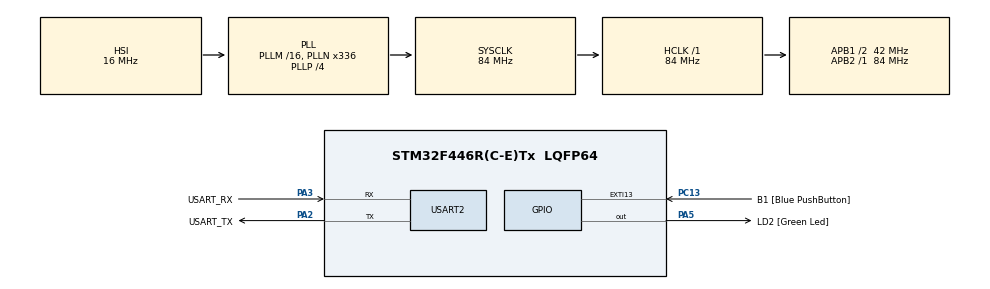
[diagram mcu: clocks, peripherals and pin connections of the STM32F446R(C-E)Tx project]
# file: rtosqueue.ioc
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FREERTOS.Queues01=myQueue01,4,uint32_t,0,Dynamic,NULL,NULL
FREERTOS.Tasks01=defaultTask,24,128,StartDefaultTask,Default,NULL,Dynamic,NULL,NULL
Mcu.Family=STM32F4
Mcu.Name=STM32F446R(C-E)Tx
Mcu.Package=LQFP64
NVIC.PriorityGroup=NVIC_PRIORITYGROUP_4
PA13.GPIO_Label=TMS
PA13.Mode=Serial_Wire
PA13.Signal=SYS_JTMS-SWDIO
PA14.GPIO_Label=TCK
PA14.Mode=Serial_Wire
PA14.Signal=SYS_JTCK-SWCLK
PA2.GPIO_Label=USART_TX
PA2.Mode=Asynchronous
PA2.Signal=USART2_TX
PA3.GPIO_Label=USART_RX
PA3.Mode=Asynchronous
PA3.Signal=USART2_RX
PA5.GPIO_Label=LD2 [Green Led]
PA5.Signal=GPIO_Output
PB3.GPIO_Label=SWO
PB3.Signal=SYS_JTDO-SWO
PC13.GPIO_Label=B1 [Blue PushButton]
PC13.GPIO_ModeDefaultEXTI=GPIO_MODE_IT_FALLING
PC13.Signal=GPXTI13
PC14-OSC32_IN.Mode=LSE-External-Oscillator
PC14-OSC32_IN.Signal=RCC_OSC32_IN
PC15-OSC32_OUT.Mode=LSE-External-Oscillator
PC15-OSC32_OUT.Signal=RCC_OSC32_OUT
PH0-OSC_IN.Mode=HSE-External-Oscillator
PH0-OSC_IN.Signal=RCC_OSC_IN
PH1-OSC_OUT.Mode=HSE-External-Oscillator
PH1-OSC_OUT.Signal=RCC_OSC_OUT
ProjectManager.HeapSize=0x200
ProjectManager.StackSize=0x400
ProjectManager.TargetToolchain=STM32CubeIDE
RCC.48MHZClocksFreq_Value=84000000
RCC.AHBFreq_Value=84000000
RCC.APB1CLKDivider=RCC_HCLK_DIV2
RCC.APB1Freq_Value=42000000
RCC.APB1TimFreq_Value=84000000
RCC.APB2Freq_Value=84000000
RCC.APB2TimFreq_Value=84000000
RCC.CortexFreq_Value=84000000
RCC.FLatency-AdvancedSettings=FLASH_LATENCY_2
RCC.HCLKFreq_Value=84000000
RCC.HSE_VALUE=8000000
RCC.HSI_VALUE=16000000
RCC.PLLN=336
RCC.PLLP=RCC_PLLP_DIV4
RCC.SYSCLKFreq_VALUE=84000000
RCC.SYSCLKSource=RCC_SYSCLKSOURCE_PLLCLK
RCC.USBFreq_Value=168000000
RCC.VCOOutputFreq_Value=336000000
USART2.VirtualMode=VM_ASYNC
VP_FREERTOS_VS_CMSIS_V2.Mode=CMSIS_V2
board=NUCLEO-F446RE

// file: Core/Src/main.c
/* USER CODE BEGIN Header */
/**
  ******************************************************************************
  * @file           : main.c
  * @brief          : Main program body
  ******************************************************************************
  * @attention
  *
  * Copyright (c) 2026 STMicroelectronics.
  * All rights reserved.
  *
  * This software is licensed under terms that can be found in the LICENSE file
  * in the root directory of this software component.
  * If no LICENSE file comes with this software, it is provided AS-IS.
  *
  ******************************************************************************
  */
/* USER CODE END Header */
#include "main.h"
#include "cmsis_os.h"
#include <stdio.h>

UART_HandleTypeDef huart2;

/* Definitions for defaultTask */
osThreadId_t defaultTaskHandle;
const osThreadAttr_t defaultTask_attributes = {
  .name = "defaultTask",
  .stack_size = 128 * 4,
  .priority = (osPriority_t) osPriorityNormal,
};
/* Definitions for myQueue01 */
osMessageQueueId_t myQueue01Handle;
const osMessageQueueAttr_t myQueue01_attributes = {
  .name = "myQueue01"
};
/* USER CODE BEGIN PV */
volatile uint8_t buttonPressed = 0;
volatile uint32_t buttonCount = 0;

osThreadId_t senderTaskHandle;
osThreadId_t receiverTaskHandle;

const osThreadAttr_t senderTask_attributes = {
  .name = "senderTask",
  .stack_size = 128 * 4,
  .priority = (osPriority_t) osPriorityNormal,
};

const osThreadAttr_t receiverTask_attributes = {
  .name = "receiverTask",
  .stack_size = 128 * 4,
  .priority = (osPriority_t) osPriorityNormal,
};

/* USER CODE END PV */

void SystemClock_Config(void);
static void MX_GPIO_Init(void);
static void MX_USART2_UART_Init(void);
void StartDefaultTask(void *argument);

/* USER CODE BEGIN PFP */

int __io_putchar(int ch)
{
	HAL_UART_Transmit(&huart2,(uint8_t *)&ch,1,	HAL_MAX_DELAY);

	return ch;
}

void SenderTask(void *argument){

		while(1)
		    {
		        if(buttonPressed)
		        {
		            osMessageQueuePut(
		                    myQueue01Handle,
		                    (void *)&buttonCount,
		                    0,
		                    osWaitForever);

		            buttonPressed = 0;
		        }

		        osDelay(10);
		    }

}

void ReceiverTask(void *argument){
	uint32_t receivedData;

	while(1)
	    {
	        if(osMessageQueueGet(
	                myQueue01Handle,
	                &receivedData,
	                NULL,
	                osWaitForever) == osOK)
	        {
	            printf(" increment count if push button presses = %lu\r\n", receivedData);
	        }
	    }
}

/* USER CODE END PFP */

int main(void)
{

  /* MCU Configuration--------------------------------------------------------*/

  /* Reset of all peripherals, Initializes the Flash interface and the Systick. */
  HAL_Init();

  /* Configure the system clock */
  SystemClock_Config();

  /* Initialize all configured peripherals */
  MX_GPIO_Init();
  MX_USART2_UART_Init();

  /* Init scheduler */
  osKernelInitialize();

  /* Create the queue(s) */
  /* creation of myQueue01 */
  myQueue01Handle = osMessageQueueNew (4, sizeof(uint32_t), &myQueue01_attributes);

  /* Create the thread(s) */
  /* creation of defaultTask */
  defaultTaskHandle = osThreadNew(StartDefaultTask, NULL, &defaultTask_attributes);

  /* USER CODE BEGIN RTOS_THREADS */

  	senderTaskHandle = osThreadNew(SenderTask,
                                   NULL,
                                   &senderTask_attributes);

    receiverTaskHandle = osThreadNew(ReceiverTask,
                                     NULL,
                                     &receiverTask_attributes);

  /* add threads, ... */
  /* USER CODE END RTOS_THREADS */

  /* Start scheduler */
  osKernelStart();

  /* We should never get here as control is now taken by the scheduler */

  /* Infinite loop */
  while (1)
  {

  }
}

void SystemClock_Config(void)
{
  RCC_OscInitTypeDef RCC_OscInitStruct = {0};
  RCC_ClkInitTypeDef RCC_ClkInitStruct = {0};

  /** Configure the main internal regulator output voltage
  */
  __HAL_RCC_PWR_CLK_ENABLE();
  __HAL_PWR_VOLTAGESCALING_CONFIG(PWR_REGULATOR_VOLTAGE_SCALE3);

  /** Initializes the RCC Oscillators according to the specified parameters
  * in the RCC_OscInitTypeDef structure.
  */
  RCC_OscInitStruct.OscillatorType = RCC_OSCILLATORTYPE_HSI;
  RCC_OscInitStruct.HSIState = RCC_HSI_ON;
  RCC_OscInitStruct.HSICalibrationValue = RCC_HSICALIBRATION_DEFAULT;
  RCC_OscInitStruct.PLL.PLLState = RCC_PLL_ON;
  RCC_OscInitStruct.PLL.PLLSource = RCC_PLLSOURCE_HSI;
  RCC_OscInitStruct.PLL.PLLM = 16;
  RCC_OscInitStruct.PLL.PLLN = 336;
  RCC_OscInitStruct.PLL.PLLP = RCC_PLLP_DIV4;
  RCC_OscInitStruct.PLL.PLLQ = 2;
  RCC_OscInitStruct.PLL.PLLR = 2;
  if (HAL_RCC_OscConfig(&RCC_OscInitStruct) != HAL_OK)
  {
    Error_Handler();
  }

  /** Initializes the CPU, AHB and APB buses clocks
  */
  RCC_ClkInitStruct.ClockType = RCC_CLOCKTYPE_HCLK|RCC_CLOCKTYPE_SYSCLK
                              |RCC_CLOCKTYPE_PCLK1|RCC_CLOCKTYPE_PCLK2;
  RCC_ClkInitStruct.SYSCLKSource = RCC_SYSCLKSOURCE_PLLCLK;
  RCC_ClkInitStruct.AHBCLKDivider = RCC_SYSCLK_DIV1;
  RCC_ClkInitStruct.APB1CLKDivider = RCC_HCLK_DIV2;
  RCC_ClkInitStruct.APB2CLKDivider = RCC_HCLK_DIV1;

  if (HAL_RCC_ClockConfig(&RCC_ClkInitStruct, FLASH_LATENCY_2) != HAL_OK)
  {
    Error_Handler();
  }
}

static void MX_USART2_UART_Init(void)
{

  huart2.Instance = USART2;
  huart2.Init.BaudRate = 115200;
  huart2.Init.WordLength = UART_WORDLENGTH_8B;
  huart2.Init.StopBits = UART_STOPBITS_1;
  huart2.Init.Parity = UART_PARITY_NONE;
  huart2.Init.Mode = UART_MODE_TX_RX;
  huart2.Init.HwFlowCtl = UART_HWCONTROL_NONE;
  huart2.Init.OverSampling = UART_OVERSAMPLING_16;
  if (HAL_UART_Init(&huart2) != HAL_OK)
  {
    Error_Handler();
  }

}

static void MX_GPIO_Init(void)
{
  GPIO_InitTypeDef GPIO_InitStruct = {0};

  /* GPIO Ports Clock Enable */
  __HAL_RCC_GPIOC_CLK_ENABLE();
  __HAL_RCC_GPIOH_CLK_ENABLE();
  __HAL_RCC_GPIOA_CLK_ENABLE();
  __HAL_RCC_GPIOB_CLK_ENABLE();
  HAL_NVIC_SetPriority(EXTI15_10_IRQn, 5, 0);
  HAL_NVIC_EnableIRQ(EXTI15_10_IRQn);

  /*Configure GPIO pin Output Level */
  HAL_GPIO_WritePin(LD2_GPIO_Port, LD2_Pin, GPIO_PIN_RESET);

  /*Configure GPIO pin : B1_Pin */
  GPIO_InitStruct.Pin = B1_Pin;
  GPIO_InitStruct.Mode = GPIO_MODE_IT_FALLING;
  GPIO_InitStruct.Pull = GPIO_NOPULL;
  HAL_GPIO_Init(B1_GPIO_Port, &GPIO_InitStruct);

  /*Configure GPIO pin : LD2_Pin */
  GPIO_InitStruct.Pin = LD2_Pin;
  GPIO_InitStruct.Mode = GPIO_MODE_OUTPUT_PP;
  GPIO_InitStruct.Pull = GPIO_NOPULL;
  GPIO_InitStruct.Speed = GPIO_SPEED_FREQ_LOW;
  HAL_GPIO_Init(LD2_GPIO_Port, &GPIO_InitStruct);

}

/* USER CODE BEGIN 4 */
void EXTI15_10_IRQHandler(void)
	{
	    HAL_GPIO_EXTI_IRQHandler(B1_Pin);
	}

void HAL_GPIO_EXTI_Callback(uint16_t GPIO_Pin)
{
	static uint32_t lastPress = 0;

	    if(GPIO_Pin == B1_Pin)
	    {
	        if(HAL_GetTick() - lastPress > 200)
	        {
	            buttonCount++;
	            buttonPressed = 1;

	            lastPress = HAL_GetTick();
	        }
	    }
}

/* USER CODE END 4 */

void StartDefaultTask(void *argument)
{
  for(;;)
  {
    osDelay(1);
  }
}

void Error_Handler(void)
{
  __disable_irq();
  while (1)
  {
  }
}
